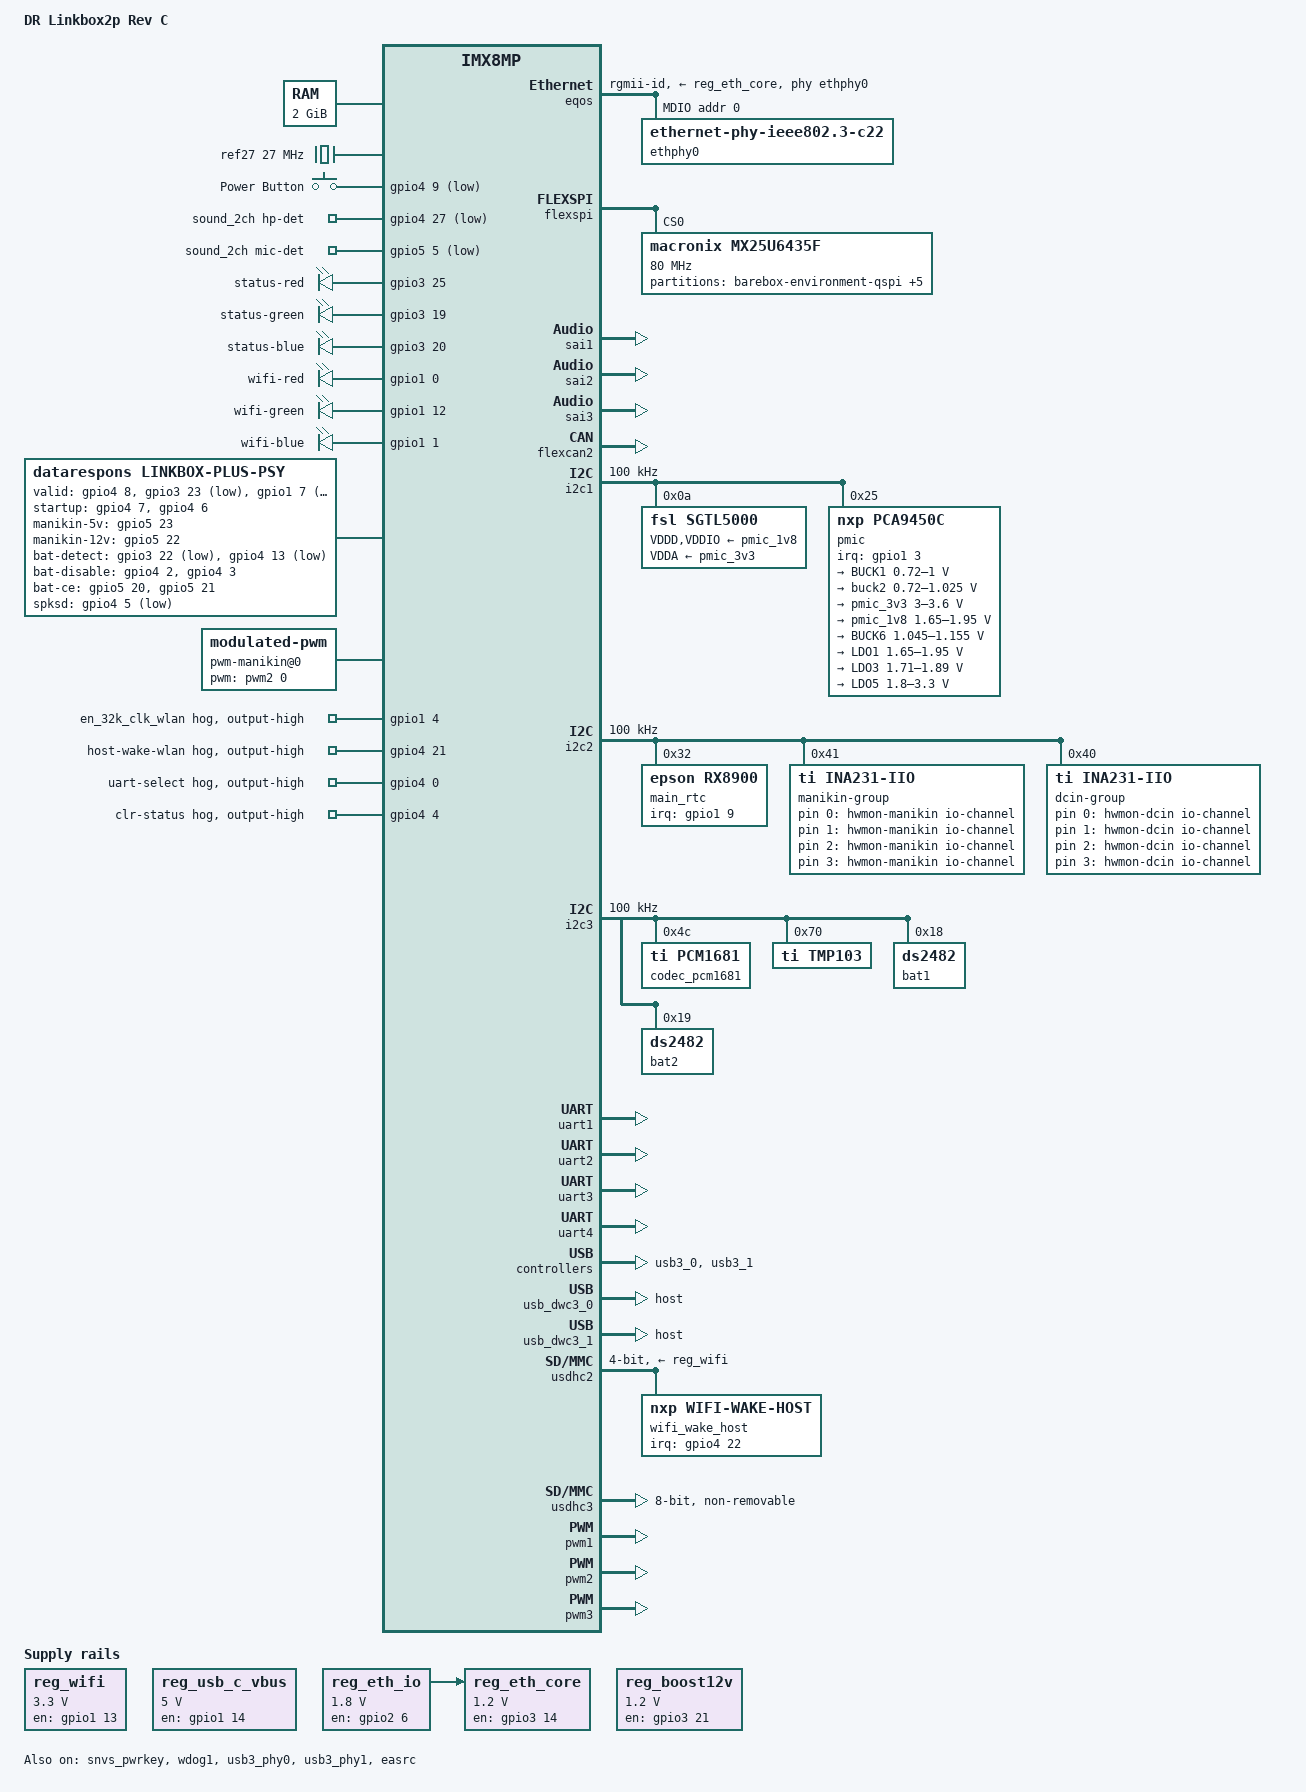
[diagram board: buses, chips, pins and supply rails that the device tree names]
/*
 * Copyright DATA RESPONS AS
 *
 * The code contained herein is licensed under the GNU General Public
 * License. You may obtain a copy of the GNU General Public License
 * Version 2 or later at the following locations:
 *
 * http://www.opensource.org/licenses/gpl-license.html
 * http://www.gnu.org/copyleft/gpl.html
 */
/dts-v1/;

#include <dt-bindings/input/input.h>
#include <dt-bindings/gpio/gpio.h>
#include <dt-bindings/usb/pd.h>
#include "imx8mp-nominal.dtsi"

/ {
	model = "DR Linkbox2p Rev C";
	compatible = "datarespons,linkbox2p", "fsl,imx8mp";

	aliases {
		mmc0 = &usdhc3;
		ethernet0 = &eqos;
		btserial = "ttymxc0";
		rtc0 = &main_rtc;
		rtc1 = &snvs_rtc;
	};

	chosen {
		stdout-path = &uart2;
	};

	memory@40000000 {
		device_type = "memory";
		reg = <0x0 0x40000000 0 0x80000000>; 	/* 2 GB DDR */
	};

	/delete-node/ display-subsystem;


	clocks {
		wlan_clk: clock@1 {
		#clock-cells = <0>;
            compatible = "fixed-clock";
            clock-output-names = "slp-clk";
            clock-frequency = <32768>;
            gpio = <&gpio1 4 0>; // EN_32KO-RTC
        };

		/*bt_clk: clock@1 {
		#clock-cells = <0>;
            compatible = "fixed-clock";
            clock-output-names = "lpo";
            clock-frequency = <32768>;
        };*/

		/* 27MHz reference crystal */
		ref27: oscillator {
			compatible = "fixed-clock";
			#clock-cells = <0>;
			clock-frequency = <27000000>;
		};
	};

	regulators {
		compatible = "simple-bus";

		reg_wifi: wifi_pwr {
			compatible = "regulator-fixed";
			regulator-name = "reg_wifi";
			regulator-min-microvolt = <3300000>;
			regulator-max-microvolt = <3300000>;
			gpio = <&gpio1 13 0>; /* PMIC_EN-WLAN */
			enable-active-high;
		};

		reg_usb_c_vbus: usb_c_vbus {
			compatible = "regulator-fixed";
			regulator-name = "reg_usb_c_vbus";
			regulator-min-microvolt = <5000000>;
			regulator-max-microvolt = <5000000>;
			gpio = <&gpio1 14 GPIO_ACTIVE_HIGH>; /* EN-USBC_Vbus_5V */
			enable-active-high;
/*			vin-supply = <&reg_5v>;*/
		};

		reg_eth_io: eth-io {
			pinctrl-names = "default";
			pinctrl-0 = <&pinctrl_reg_eth_io>;
			compatible = "regulator-fixed";
			regulator-name = "reg-eth-io";
			regulator-min-microvolt = <1800000>;
			regulator-max-microvolt = <1800000>;
			gpio = <&gpio2 6 GPIO_ACTIVE_HIGH>; /* EN_PWR-ENET_A */
			enable-active-high;
		};

		reg_eth_core: eth-core {
			pinctrl-names = "default";
			pinctrl-0 = <&pinctrl_reg_eth_core>;
			compatible = "regulator-fixed";
			regulator-name = "reg-eth-core";
			regulator-min-microvolt = <1200000>;
			regulator-max-microvolt = <1200000>;
			gpio = <&gpio3 14 GPIO_ACTIVE_HIGH>; /* EN_1V2-ENET_A */
			enable-active-high;
			vin-supply = <&reg_eth_io>;
			startup-delay-us = <20>;
		};

		reg_boost12v: boost12v {
			compatible = "regulator-fixed";
			regulator-name = "reg-boost-12v";
			regulator-min-microvolt = <1200000>;
			regulator-max-microvolt = <1200000>;
			gpio = <&gpio3 21 GPIO_ACTIVE_HIGH>;
			enable-active-high;
			regulator-always-on;
		};
	};

	gpio-keys {
		compatible = "gpio-keys";
		power {
			label = "Power Button";
			gpios = <&gpio4 9 GPIO_ACTIVE_LOW>;
			linux,code = <KEY_POWER>; /* KEY_POWER */
			gpio-key,wakeup;
		};
	};

	bt_sco_codec: bt_sco_codec {
		#sound-dai-cells = <1>;
		compatible = "linux,bt-sco";
		status = "disabled";
	};

	sound-bt-sco {
		status = "okay";
		compatible = "simple-audio-card";
		simple-audio-card,name = "bt-sco-audio";
		simple-audio-card,format = "dsp_a";
		simple-audio-card,bitclock-inversion;
		simple-audio-card,frame-master = <&btcpu>;
		simple-audio-card,bitclock-master = <&btcpu>;

		btcpu: simple-audio-card,cpu {
			sound-dai = <&sai2>;
			dai-tdm-slot-num = <2>;
			dai-tdm-slot-width = <16>;
		};

		simple-audio-card,codec {
			sound-dai = <&bt_sco_codec 1>;
		};

	};

	sound_2ch {
		compatible = "fsl,lm-imx-audio-lb2-audio";
		model = "sgtl5000-audio";
		audio-cpu = <&sai3>;
		audio-codec = <&sgtl5000>;
		hp-det-gpios = <&gpio4 27 GPIO_ACTIVE_LOW>;
		mic-det-gpios = <&gpio5 5 GPIO_ACTIVE_LOW>;
		audio-routing =
			"Headphone Jack", "HP_OUT",
			"AMIC", "Mic Bias",
			"MIC_IN", "AMIC";
	};

	leds {
		compatible = "gpio-leds";
		pinctrl-names = "default";
		pinctrl-0 = <&pinctrl_gpio_led>;

		status-red {
			gpios = <&gpio3 25 GPIO_ACTIVE_HIGH>;
			default-state = "off";
		};

		status-green {
			gpios = <&gpio3 19 GPIO_ACTIVE_HIGH>;
			default-state = "on";
			linux,default-trigger = "timer";
		};

		status-blue {
			gpios = <&gpio3 20 GPIO_ACTIVE_HIGH>;
			default-state = "off";
		};

		wifi-red {
			gpios = <&gpio1 0 GPIO_ACTIVE_HIGH>;
			default-state = "off";
		};

		wifi-green {
			gpios = <&gpio1 12 GPIO_ACTIVE_HIGH>;
			default-state = "off";
		};

		wifi-blue {
			gpios = <&gpio1 1 GPIO_ACTIVE_HIGH>;
			default-state = "off";
		};
	};

    sound_8ch {
        compatible = "fsl,imx-audio-mx8-pcm1681";
        model = "pcm1681";
        audio-cpu = <&sai1>;
        audio-codec = <&codec_pcm1681>;

        audio-routing =
            "OUT1", "VOUT1",
            "OUT2", "VOUT2",
            "OUT3", "VOUT3",
            "OUT4", "VOUT4",
            "OUT5", "VOUT5",
            "OUT6", "VOUT6",
            "OUT7", "VOUT7",
            "OUT8", "VOUT8";
    };

    linkbox-plus-psy {
		pinctrl-names = "default";
		pinctrl-0 = <&pinctrl_linkbox_psy>;
		status = "okay";
		compatible = "datarespons,linkbox-plus-psy";
		valid-gpios = <&gpio4 8 GPIO_ACTIVE_HIGH &gpio3 23 GPIO_ACTIVE_LOW &gpio1 7 GPIO_ACTIVE_LOW>;
		startup-gpios = <&gpio4 7 GPIO_ACTIVE_HIGH &gpio4 6 GPIO_ACTIVE_HIGH>;
		manikin-5v-gpio = <&gpio5 23 GPIO_ACTIVE_HIGH>;
		manikin-12v-gpio = <&gpio5 22 GPIO_ACTIVE_HIGH>;
		bat-detect-gpios = <&gpio3 22 GPIO_ACTIVE_LOW &gpio4 13 GPIO_ACTIVE_LOW>;
		bat-disable-gpios = <&gpio4 2 GPIO_ACTIVE_HIGH &gpio4 3 GPIO_ACTIVE_HIGH>;
		bat-ce-gpios = <&gpio5 20 GPIO_ACTIVE_HIGH &gpio5 21 GPIO_ACTIVE_HIGH>;
		spksd-gpio = <&gpio4 5 GPIO_ACTIVE_LOW>;
		amp-shutdown-gpio = <&gpio1 6 GPIO_ACTIVE_LOW>;
    };

	pwm-manikin@0 {
		compatible = "modulated-pwm";
		pwms = <&pwm2 0 40000>;
		status = "okay";
		inverted;
		period = <40000>;
	};

	hwmon-dcin {
		compatible = "iio-hwmon";
		io-channels = <&ina_dcin 0>, <&ina_dcin 1>, <&ina_dcin 2>, <&ina_dcin 3>;
	};

	hwmon-manikin {
		compatible = "iio-hwmon";
		io-channels = <&ina_manikin 0>, <&ina_manikin 1>, <&ina_manikin 2>, <&ina_manikin 3>;
	};

	can-uart-mux {
		compatible = "datarespons,function-mux";
		pinctrl-names = "uart", "can";
		pinctrl-0 = <&pinctrl_uart3>;
		pinctrl-1 = <&pinctrl_flexcan2>;
	};
};

&A53_0 {
	cpu-supply = <&buck2>;
};

&A53_1 {
	cpu-supply = <&buck2>;
};

&A53_2 {
	cpu-supply = <&buck2>;
};

&A53_3 {
	cpu-supply = <&buck2>;
};

&gpu_3d {
	status = "disabled";
};

&gpu_2d {
	status = "disabled";
};


&snvs_pwrkey {
	status = "okay";
};

&gpio1 {
	gpio-line-names = "", "", "", "", "", "can-stby", "", "can-en-term",
						"can-shdn", "", "", "", "", "pmic-enable-wlan", "", "";

	en_32k_clk_wlan {
		gpio-hog;
		gpios = <4 GPIO_ACTIVE_HIGH>;
		output-high;
	};
};


&gpio3 {
	gpio-line-names = "", "", "", "", "", "", "", "",
						"spinor-wp", "", "", "", "", "", "", "";
};

&gpio4 {
	gpio-line-names = "uart-select", "", "", "", "", "", "", "",
						"", "", "", "", "", "", "mcu_reset", "mcu_boot0",
						"mcu_boot1", "hwrev0", "hwrev1", "hwrev2", "sai1-mclk", "host-wake-wlan", "wlan-wake-host", "",
						"", "", "", "", "", "", "", "";

	host-wake-wlan {
		gpio-hog;
		gpios = <21 GPIO_ACTIVE_HIGH>;
		output-high;
	};

	uart-select {
		gpio-hog;
		gpios = <0 GPIO_ACTIVE_HIGH>;
		output-high;
	};

	clr-status {
		gpio-hog;
		gpios = <4 GPIO_ACTIVE_HIGH>;
		output-high;
	};
};

&gpio5 {
	gpio-line-names = "", "", "", "bt-wake-host", "host-wake-bt", "", "", "",
						"", "", "", "", "", "", "", "",
						"", "", "", "", "", "", "", "";
};


&eqos {
	pinctrl-names = "default";
	pinctrl-0 = <&pinctrl_eqos>;
	phy-mode = "rgmii-id";
	phy-handle = <&ethphy0>;
	snps,force_thresh_dma_mode;
	status = "okay";
	snps,reset-gpios = <&gpio2 5 GPIO_ACTIVE_LOW>; /* ETHPHY_nRST */
	snps,reset-delays-us = <0 10000 30000>;
	phy-supply = <&reg_eth_core>;

	mdio {
		compatible = "snps,dwmac-mdio";
		#address-cells = <1>;
		#size-cells = <0>;

		ethphy0: ethernet-phy@0 {
			compatible = "ethernet-phy-ieee802.3-c22";
			reg = <0>;
		};
	};
};


&flexspi {
	pinctrl-names = "default";
	pinctrl-0 = <&pinctrl_flexspi0>;
	status = "okay";

	mx25u6435f: flash@0 { /* MX25U6432FM2I02 (64 Mbit) */
		reg = <0>;
		#address-cells = <1>;
		#size-cells = <1>;
		compatible = "macronix,mx25u6435f", "jedec,spi-nor";
		spi-max-frequency = <80000000>;
		spi-tx-bus-width = <1>;
		spi-rx-bus-width = <4>;
		spi-nor,ddr-quad-read-dummy = <6>;

	};
};

&mx25u6435f {
	partitions {
		compatible = "fixed-partitions";
		#address-cells = <1>;
		#size-cells = <1>;

		partition@0 {
			label = "barebox-environment-qspi";
			reg = <0x0 0x40000>;
		};

		backend_state_qspi: state@40000 {
			label = "barebox-state";
			reg = <0x40000 0xc0000>;
		};

		partition@100000 {
			label = "system_a";
			reg = <0x100000 0x40000>;
		};
		partition@140000 {
			label = "system_b";
			reg = <0x140000 0x40000>;
		};

		partition@180000 {
			label = "user_a";
			reg = <0x180000 0x40000>;
		};
		partition@1c0000 {
			label = "user_b";
			reg = <0x1c0000 0x40000>;
		};
	};
};

&sai1 {
	#clock-cells = <0>;
	clock-output-names = "sai1_mclk_out";
	pinctrl-names = "default";
	pinctrl-0 = <&pinctrl_sai1>;
	assigned-clocks = <&clk IMX8MP_CLK_SAI1>;
	assigned-clock-parents = <&clk IMX8MP_AUDIO_PLL1_OUT>;
	assigned-clock-rates = <12288000>;
	clocks = <&audio_blk_ctrl IMX8MP_CLK_AUDIO_BLK_CTRL_SAI1_IPG>, <&clk IMX8MP_CLK_DUMMY>,
		<&audio_blk_ctrl IMX8MP_CLK_AUDIO_BLK_CTRL_SAI1_MCLK1>, <&clk IMX8MP_CLK_DUMMY>,
		<&clk IMX8MP_CLK_DUMMY>;
	clock-names = "bus", "mclk0", "mclk1", "mclk2", "mclk3";
	fsl,sai-mclk-direction-output;
	status = "okay";
};

&sai2 {
	#sound-dai-cells = <0>;
	pinctrl-names = "default";
	pinctrl-0 = <&pinctrl_sai2>;
	assigned-clocks = <&clk IMX8MP_CLK_SAI2>;
	assigned-clock-parents = <&clk IMX8MP_AUDIO_PLL1_OUT>;
	assigned-clock-rates = <12288000>;
	status = "okay";
};

&sai3 {
	#clock-cells = <0>;
	clock-output-names = "sai3_mclk_out";
	pinctrl-names = "default";
	pinctrl-0 = <&pinctrl_sai3>;
	assigned-clocks = <&clk IMX8MP_CLK_SAI3>;
	assigned-clock-parents = <&clk IMX8MP_AUDIO_PLL1_OUT>;
	assigned-clock-rates = <12288000>;
	clocks = <&audio_blk_ctrl IMX8MP_CLK_AUDIO_BLK_CTRL_SAI3_IPG>, <&clk IMX8MP_CLK_DUMMY>,
		<&audio_blk_ctrl IMX8MP_CLK_AUDIO_BLK_CTRL_SAI3_MCLK1>, <&clk IMX8MP_CLK_DUMMY>,
		<&clk IMX8MP_CLK_DUMMY>;
	clock-names = "bus", "mclk0", "mclk1", "mclk2", "mclk3";
	fsl,sai-mclk-direction-output;
	status = "okay";
};

&sdma2 {
	status = "okay";
};

&flexcan2 {
	status = "okay";
};

&i2c1 {
	clock-frequency = <100000>;
	pinctrl-names = "default";
	pinctrl-0 = <&pinctrl_i2c1>;
	status = "okay";

	sgtl5000: audio-codec@a {
		compatible = "fsl,sgtl5000";
		clocks = <&sai3>;
		#sound-dai-cells = <0>;
		reg = <0x0a>;
		VDDD-supply = <&pmic_1v8>;
		VDDIO-supply = <&pmic_1v8>;
		VDDA-supply = <&pmic_3v3>;
		micbias-resistor-k-ohms = <2>;
		micbias-voltage-m-volts = <2500>;
	};

	pmic: pca9450@25 {
		compatible = "nxp,pca9450c";
		reg = <0x25>;
		pinctrl-names = "default";
		pinctrl-0 = <&pinctrl_pmic>;
		interrupt-parent = <&gpio1>;
		interrupts = <3 IRQ_TYPE_LEVEL_LOW>;

		regulators {
			BUCK1 {
				regulator-name = "BUCK1";
				regulator-min-microvolt = <720000>;
				regulator-max-microvolt = <1000000>;
				regulator-boot-on;
				regulator-always-on;
				regulator-ramp-delay = <3125>;
			};

			buck2: BUCK2 {
				regulator-name = "BUCK2";
				regulator-min-microvolt = <720000>;
				regulator-max-microvolt = <1025000>;
				regulator-boot-on;
				regulator-always-on;
				regulator-ramp-delay = <3125>;
				nxp,dvs-run-voltage = <950000>;
				nxp,dvs-standby-voltage = <850000>;
			};

			pmic_3v3: BUCK4 {
				regulator-name = "pmic-3v3";
				regulator-min-microvolt = <3000000>;
				regulator-max-microvolt = <3600000>;
				regulator-boot-on;
				regulator-always-on;
			};

			pmic_1v8: BUCK5 {
				regulator-name = "pmic-1v8";
				regulator-min-microvolt = <1650000>;
				regulator-max-microvolt = <1950000>;
				regulator-boot-on;
				regulator-always-on;
			};

			BUCK6 {
				regulator-name = "BUCK6";
				regulator-min-microvolt = <1045000>;
				regulator-max-microvolt = <1155000>;
				regulator-boot-on;
				regulator-always-on;
			};

			LDO1 {
				regulator-name = "LDO1";
				regulator-min-microvolt = <1650000>;
				regulator-max-microvolt = <1950000>;
				regulator-boot-on;
				regulator-always-on;
			};

			LDO3 {
				regulator-name = "LDO3";
				regulator-min-microvolt = <1710000>;
				regulator-max-microvolt = <1890000>;
				regulator-boot-on;
				regulator-always-on;
			};

			LDO5 {
				regulator-name = "LDO5";
				regulator-min-microvolt = <1800000>;
				regulator-max-microvolt = <3300000>;
				regulator-boot-on;
				regulator-always-on;
			};
		};
	};
};

&i2c2 { /* RTC X1B000271A00400/rx8900, PCIE_CLK PI6CFGL201BZDIE, MBATT BQ27541-G1 BQ28Z610 */
	clock-frequency = <100000>;
	pinctrl-names = "default";
	pinctrl-0 = <&pinctrl_i2c2>;
	status = "okay";

	main_rtc: rtc-rx8900@32 {
		compatible = "epson,rx8900";
		reg = <0x32>;
		interrupt-parent = <&gpio1>;
		interrupts = <9 IRQ_TYPE_LEVEL_LOW>;
		wakeup-source;
	};

	ina_manikin: ina-manikin@41 {
		compatible = "ti,ina231-iio";
		reg = <0x41>;
		shunt-resistor = <10000>;
		#io-channel-cells = <1>;
		label = "manikin-group";
	};

	ina_dcin: ina-dcin@40 {
		compatible = "ti,ina231-iio";
		reg = <0x40>;
		shunt-resistor = <10000>;
		#io-channel-cells = <1>;
		label = "dcin-group";

	};
};

&i2c3 { /* CTP EXC80H32 , CTP EXC80H32	see exc3000.c */
	clock-frequency = <100000>;
	pinctrl-names = "default";
	pinctrl-0 = <&pinctrl_i2c3>;
	status = "okay";

	codec_pcm1681: pcm1681@4c {
		compatible = "ti,pcm1681";
		reg = <0x4c>;
		clocks = <&sai1>;
		clock-names = "mclk";
	};

	si5351: clock-generator@60 {
		compatible = "silabs,si5351a";
		reg = <0x60>;
		#address-cells = <1>;
		#size-cells = <0>;
		#clock-cells = <1>;
		status = "disabled";

		/* connect xtal input to 27MHz reference */
		clocks = <&ref27>;
		clock-names = "xtal";
		/* connect xtal input as source of pll0 and pll1 */
		silabs,pll-source = <0 0>, <1 0>;

		clkout0 {
			reg = <0>;
			silabs,drive-strength = <8>;
			silabs,multisynth-source = <0>;
			silabs,clock-source = <0>;
			silabs,pll-master;
			clock-frequency = <24576000>;
		};

		clkout1 {
			reg = <1>;
			silabs,drive-strength = <8>;
			silabs,multisynth-source = <0>;
			silabs,clock-source = <0>;
			clock-frequency = <12288000>;
		};
	};

	/*thermal_sensor: TMP103AYFFR*/
	tmp103: tmp103@70 {
		compatible = "ti,tmp103";
		reg = <0x70>;
	};

	/* DS2482X-101+T */
	/* defconfig W1_MASTER_DS2482*/
	bat1: ds2482@18 {
		compatible = "ds2482";
		reg = <0x18>;
	};

	/* DS2482X-101+T */
	/* defconfig W1_MASTER_DS2482*/
	bat2: ds2482@19 {
		compatible = "ds2482";
		reg = <0x19>;
	};

};

&wdog1 {
	pinctrl-names = "default";
	pinctrl-0 = <&pinctrl_wdog>;
	fsl,ext-reset-output;
	status = "okay";
};

/* PAD defs for IMX8MP
BIT8: PULL Enable=1
BIT7: HYS Shmitt=1
BIT6: PUE Down=0, Up=1
BIT5: ODE
BIT4: SLEW Fast=1
BIT2:1 STRENGTH x1,x2,x4,x6
*/

&iomuxc {
	pinctrl-names = "default";
	pinctrl-0 = <&pinctrl_hog>;

	pinctrl_hog: hoggrp {
		fsl,pins = <
			MX8MP_IOMUXC_GPIO1_IO04__GPIO1_IO04			0x142		/* EN_32KO-RTC (WLAN SLP_CLK-WLAN)*/
			MX8MP_IOMUXC_GPIO1_IO09__GPIO1_IO09			0x1c0		/* RTC nIRQ */
			MX8MP_IOMUXC_GPIO1_IO13__GPIO1_IO13			0x002		/* GP--WL_BAT_PWR_EN PMIC_EN-WLAN */

			MX8MP_IOMUXC_SAI1_RXD7__GPIO4_IO09			0x180		/* PWR_BTN_SNS PWR_BTN_SNS-CPUGPI*/
			MX8MP_IOMUXC_SAI1_TXD5__GPIO4_IO17			0x00		/* HW_Setting_0 */
			MX8MP_IOMUXC_SAI1_TXD6__GPIO4_IO18			0x00		/* HW_Setting_1 */
			MX8MP_IOMUXC_SAI1_TXD7__GPIO4_IO19			0x00		/* HW_Setting_2 */
			MX8MP_IOMUXC_SAI2_MCLK__GPIO4_IO27			0x1c0		/* LINE_OUTD_DET */

			MX8MP_IOMUXC_SPDIF_EXT_CLK__GPIO5_IO05		0x1c0		/* LINE_IND_DET */
			MX8MP_IOMUXC_SPDIF_RX__GPIO5_IO04			0x142		/* HOST_WAKEUP_BT, PU */
			MX8MP_IOMUXC_SPDIF_TX__GPIO5_IO03			0x180		/* BT_WAKEUP_HOST, PD */

			MX8MP_IOMUXC_GPIO1_IO14__GPIO1_IO14			0x006 		/* EN-USBC_Vbus_5V */

			MX8MP_IOMUXC_SAI1_TXD2__GPIO4_IO14			0x004  		/* GP-CPU2MCU_RST */
            MX8MP_IOMUXC_SAI1_TXD3__GPIO4_IO15			0x004  		/* MCU_BOOT0 */
            MX8MP_IOMUXC_SAI1_TXD4__GPIO4_IO16			0x004  		/* MCU_BOOT1 */

			MX8MP_IOMUXC_GPIO1_IO08__GPIO1_IO08			0x04		/* SHDN-CAN1 (ext pd) */
			MX8MP_IOMUXC_GPIO1_IO05__GPIO1_IO05			0x04		/* CAN1_STBY (ext pd) */

			MX8MP_IOMUXC_SAI1_RXFS__GPIO4_IO00			0x002		/* USB_UART_SELECT */
			MX8MP_IOMUXC_SAI5_RXD0__GPIO3_IO21			0x002		/* PWR_BOOST_EN */
			MX8MP_IOMUXC_SAI1_RXD2__GPIO4_IO04			0x002		/* CLR_STATUS to CPLD */
		>;
	};

	pinctrl_reg_eth_io: ethiogrp {
		fsl,pins = <
			MX8MP_IOMUXC_SD1_DATA4__GPIO2_IO06	0x106	/* EN_PWR-ENET_A */
		>;
	};

	pinctrl_reg_eth_core: ethcoregrp {
		fsl,pins = <
			MX8MP_IOMUXC_NAND_DQS__GPIO3_IO14	0x106	/* EN_1V2-ENET_A */
		>;
	};

	pinctrl_pmic: pmicgrp {
		fsl,pins = <
			MX8MP_IOMUXC_GPIO1_IO03__GPIO1_IO03		0x1c0	/* PMIC_nINT */
		>;
	};

	pinctrl_wifi1: wifi1grp {
		fsl,pins = <
			MX8MP_IOMUXC_SAI2_RXFS__GPIO4_IO21		0x142	/* HOST_WAKEUP_WLAN */
			MX8MP_IOMUXC_SAI2_RXC__GPIO4_IO22		0x1C0	/* WLAN_WAKEUP_HOST */
		>;
	};

	pinctrl_wdog: wdoggrp {
		fsl,pins = <
			MX8MP_IOMUXC_GPIO1_IO02__WDOG1_WDOG_B		  0xc6		 /* WDOG_B */
		>;
	};

	pinctrl_flexspi0: flexspi0grp {
		fsl,pins = <
			MX8MP_IOMUXC_NAND_ALE__FLEXSPI_A_SCLK		0x1c2
			MX8MP_IOMUXC_NAND_CE0_B__FLEXSPI_A_SS0_B	0x82
			MX8MP_IOMUXC_NAND_DATA00__FLEXSPI_A_DATA00	0x82
			MX8MP_IOMUXC_NAND_DATA01__FLEXSPI_A_DATA01	0x82
			MX8MP_IOMUXC_NAND_DATA02__FLEXSPI_A_DATA02	0x82
			MX8MP_IOMUXC_NAND_DATA03__FLEXSPI_A_DATA03	0x82
		>;
	};

	/* Linkbox Power Supply */
	pinctrl_linkbox_psy: psygrp {
		fsl,pins = <
			MX8MP_IOMUXC_UART1_RXD__GPIO5_IO22		0x106		/* EN-12V-MANIKIN */
			MX8MP_IOMUXC_UART1_TXD__GPIO5_IO23		0x106		/* EN-5V-MANIKIN */
			MX8MP_IOMUXC_GPIO1_IO06__GPIO1_IO06 	0x026		/* nSD-AC5W (OD) */
			MX8MP_IOMUXC_SAI1_RXD3__GPIO4_IO05		0x006		/* nSD-1WSP */
			MX8MP_IOMUXC_SAI5_RXD1__GPIO3_IO22		0x080		/* GP--BAT1_nDET */
			MX8MP_IOMUXC_SAI1_TXD1__GPIO4_IO13  	0x080		/* BAT2_DET_N */
            MX8MP_IOMUXC_SAI5_RXD2__GPIO3_IO23		0x080		/* nVALID_2 */
            MX8MP_IOMUXC_GPIO1_IO07__GPIO1_IO07		0x080		/* nVALID_3 */
            MX8MP_IOMUXC_SAI1_RXD5__GPIO4_IO07		0x000		/* START_ADAPTER-CPUGPI */
            MX8MP_IOMUXC_SAI1_RXD4__GPIO4_IO06		0x000		/* START_KEY-CPUGPI */

			MX8MP_IOMUXC_SAI1_RXD0__GPIO4_IO02		0x004		/* UV2-CPU */
			MX8MP_IOMUXC_SAI1_RXD1__GPIO4_IO03		0x004		/* UV3-CPU */
			MX8MP_IOMUXC_I2C4_SCL__GPIO5_IO20		0x004		/* EN_BAT1-CPU */
			MX8MP_IOMUXC_I2C4_SDA__GPIO5_IO21		0x004		/* EN_BAT2-CPU */
			MX8MP_IOMUXC_SAI1_RXD6__GPIO4_IO08		0x000		/* DCIN_VALIDO from CPLD */
		>;
	};

	/* UART BT */
	pinctrl_uart1: uart1grp {
		fsl,pins = <
			MX8MP_IOMUXC_SD1_CLK__UART1_DCE_TX		0x014
			MX8MP_IOMUXC_SD1_CMD__UART1_DCE_RX		0x014
			MX8MP_IOMUXC_SD1_DATA0__UART1_DCE_RTS	0x014
			MX8MP_IOMUXC_SD1_DATA1__UART1_DCE_CTS	0x014
		>;
	};

	/* UART CPU */
	pinctrl_uart2: uart2grp {
		fsl,pins = <
			MX8MP_IOMUXC_UART2_RXD__UART2_DCE_RX	0x102
			MX8MP_IOMUXC_UART2_TXD__UART2_DCE_TX	0x102
		>;
	};

	/* UART IOMCU */
	pinctrl_uart4: uart4grp {
		fsl,pins = <
			MX8MP_IOMUXC_UART4_RXD__UART4_DCE_RX	0x102 /* UART_TX-IOMCU */
			MX8MP_IOMUXC_UART4_TXD__UART4_DCE_TX	0x102 /* UART_RX-IOMCU */
		>;
	};

	pinctrl_i2c1: i2c1grp {
		fsl,pins = <
			MX8MP_IOMUXC_I2C1_SCL__I2C1_SCL		 0x400001c2
			MX8MP_IOMUXC_I2C1_SDA__I2C1_SDA		 0x400001c2
		>;
	};

	pinctrl_i2c2: i2c2grp {
		fsl,pins = <
			MX8MP_IOMUXC_I2C2_SCL__I2C2_SCL		 0x400001c2
			MX8MP_IOMUXC_I2C2_SDA__I2C2_SDA		 0x400001c2
		>;
	};

	pinctrl_i2c3: i2c3grp {
		fsl,pins = <
			MX8MP_IOMUXC_I2C3_SCL__I2C3_SCL		0x400001c2
			MX8MP_IOMUXC_I2C3_SDA__I2C3_SDA		0x400001c2
		>;
	};

	pinctrl_usdhc2: usdhc2grp {
		fsl,pins = <
			MX8MP_IOMUXC_SD2_CLK__USDHC2_CLK		0x192
			MX8MP_IOMUXC_SD2_CMD__USDHC2_CMD		0x1d2
			MX8MP_IOMUXC_SD2_DATA0__USDHC2_DATA0	0x1d2
			MX8MP_IOMUXC_SD2_DATA1__USDHC2_DATA1	0x1d2
			MX8MP_IOMUXC_SD2_DATA2__USDHC2_DATA2	0x1d2
			MX8MP_IOMUXC_SD2_DATA3__USDHC2_DATA3	0x1d2
		>;
	};

	pinctrl_usdhc2_100mhz: usdhc2-100mhzgrp {
		fsl,pins = <
			MX8MP_IOMUXC_SD2_CLK__USDHC2_CLK		0x194
			MX8MP_IOMUXC_SD2_CMD__USDHC2_CMD		0x1d4
			MX8MP_IOMUXC_SD2_DATA0__USDHC2_DATA0	0x1d4
			MX8MP_IOMUXC_SD2_DATA1__USDHC2_DATA1	0x1d4
			MX8MP_IOMUXC_SD2_DATA2__USDHC2_DATA2	0x1d4
			MX8MP_IOMUXC_SD2_DATA3__USDHC2_DATA3	0x1d4
		>;
	};

	pinctrl_usdhc2_200mhz: usdhc2-200mhzgrp {
		fsl,pins = <
			MX8MP_IOMUXC_SD2_CLK__USDHC2_CLK		0x196
			MX8MP_IOMUXC_SD2_CMD__USDHC2_CMD		0x1d6
			MX8MP_IOMUXC_SD2_DATA0__USDHC2_DATA0	0x1d6
			MX8MP_IOMUXC_SD2_DATA1__USDHC2_DATA1	0x1d6
			MX8MP_IOMUXC_SD2_DATA2__USDHC2_DATA2	0x1d6
			MX8MP_IOMUXC_SD2_DATA3__USDHC2_DATA3	0x1d6
		>;
	};

	pinctrl_usdhc3: usdhc3grp { /* EMMC eMMC16G-TB28-A20 */
		fsl,pins = <
			MX8MP_IOMUXC_NAND_WE_B__USDHC3_CLK		0x192 /*SD3_CLK*/
			MX8MP_IOMUXC_NAND_WP_B__USDHC3_CMD		0x1d2 /*SD3_CMD*/
			MX8MP_IOMUXC_NAND_DATA04__USDHC3_DATA0	0x1d2 /*SD3_DATA0*/
			MX8MP_IOMUXC_NAND_DATA05__USDHC3_DATA1	0x1d2 /*SD3_DATA1*/
			MX8MP_IOMUXC_NAND_DATA06__USDHC3_DATA2	0x1d2 /*SD3_DATA2*/
			MX8MP_IOMUXC_NAND_DATA07__USDHC3_DATA3	0x1d2 /*SD3_DATA3*/
			MX8MP_IOMUXC_NAND_RE_B__USDHC3_DATA4	0x1d2 /*SD3_DATA4*/
			MX8MP_IOMUXC_NAND_CE2_B__USDHC3_DATA5	0x1d2 /*SD3_DATA5*/
			MX8MP_IOMUXC_NAND_CE3_B__USDHC3_DATA6	0x1d2 /*SD3_DATA6*/
			MX8MP_IOMUXC_NAND_CLE__USDHC3_DATA7		0x1d2 /*SD3_DATA7*/
			MX8MP_IOMUXC_NAND_CE1_B__USDHC3_STROBE	0x192 /* SD3_STROBE*/
		>;
	};

	pinctrl_usdhc3_100mhz: usdhc3-100mhzgrp {
		fsl,pins = <
			MX8MP_IOMUXC_NAND_WE_B__USDHC3_CLK		0x194 /*SD3_CLK*/
			MX8MP_IOMUXC_NAND_WP_B__USDHC3_CMD		0x1d4 /*SD3_CMD*/
			MX8MP_IOMUXC_NAND_DATA04__USDHC3_DATA0	0x1d4 /*SD3_DATA0*/
			MX8MP_IOMUXC_NAND_DATA05__USDHC3_DATA1	0x1d4 /*SD3_DATA1*/
			MX8MP_IOMUXC_NAND_DATA06__USDHC3_DATA2	0x1d4 /*SD3_DATA2*/
			MX8MP_IOMUXC_NAND_DATA07__USDHC3_DATA3	0x1d4 /*SD3_DATA3*/
			MX8MP_IOMUXC_NAND_RE_B__USDHC3_DATA4	0x1d4 /*SD3_DATA4*/
			MX8MP_IOMUXC_NAND_CE2_B__USDHC3_DATA5	0x1d4 /*SD3_DATA5*/
			MX8MP_IOMUXC_NAND_CE3_B__USDHC3_DATA6	0x1d4 /*SD3_DATA6*/
			MX8MP_IOMUXC_NAND_CLE__USDHC3_DATA7		0x1d4 /*SD3_DATA7*/
			MX8MP_IOMUXC_NAND_CE1_B__USDHC3_STROBE	0x194 /* SD3_STROBE*/
		>;
	};

	pinctrl_usdhc3_200mhz: usdhc3-200mhzgrp {
		fsl,pins = <
			MX8MP_IOMUXC_NAND_WE_B__USDHC3_CLK		0x196 /*SD3_CLK*/
			MX8MP_IOMUXC_NAND_WP_B__USDHC3_CMD		0x1d6 /*SD3_CMD*/
			MX8MP_IOMUXC_NAND_DATA04__USDHC3_DATA0	0x1d6 /*SD3_DATA0*/
			MX8MP_IOMUXC_NAND_DATA05__USDHC3_DATA1	0x1d6 /*SD3_DATA1*/
			MX8MP_IOMUXC_NAND_DATA06__USDHC3_DATA2	0x1d6 /*SD3_DATA2*/
			MX8MP_IOMUXC_NAND_DATA07__USDHC3_DATA3	0x1d6 /*SD3_DATA3*/
			MX8MP_IOMUXC_NAND_RE_B__USDHC3_DATA4	0x1d6 /*SD3_DATA4*/
			MX8MP_IOMUXC_NAND_CE2_B__USDHC3_DATA5	0x1d6 /*SD3_DATA5*/
			MX8MP_IOMUXC_NAND_CE3_B__USDHC3_DATA6	0x1d6 /*SD3_DATA6*/
			MX8MP_IOMUXC_NAND_CLE__USDHC3_DATA7		0x1d6 /*SD3_DATA7*/
			MX8MP_IOMUXC_NAND_CE1_B__USDHC3_STROBE	0x196 /* SD3_STROBE*/
		>;
	};

	pinctrl_sai1: sai1grp {
		fsl,pins = <
			MX8MP_IOMUXC_SAI1_MCLK__AUDIOMIX_SAI1_MCLK			0xd6 /*SAI1_MCLK - PCM_SCLK-PCMDAC */
			MX8MP_IOMUXC_SAI1_TXFS__AUDIOMIX_SAI1_TX_SYNC		0xd6 /*SAI1_TXFS - PCM_LRCK-PCMDAC */
			MX8MP_IOMUXC_SAI1_TXC__AUDIOMIX_SAI1_TX_BCLK		0xd6 /*SAI1_TXC - PCM_BCLK-PCMDAC*/
			MX8MP_IOMUXC_SAI1_TXD0__AUDIOMIX_SAI1_TX_DATA00		0xd6 /*SAI1_TXD0 - PCM_DAT1-PCMDAC*/
		>;
	};

	pinctrl_sai2: sai2grp {
		fsl,pins = <
			MX8MP_IOMUXC_SAI2_RXD0__AUDIOMIX_SAI2_RX_DATA00		0xd6 /*SAI2_RXD0 - BT_PCM_DIN*/
			MX8MP_IOMUXC_SAI2_TXC__AUDIOMIX_SAI2_TX_BCLK		0xd6 /*SAI2_TXC - BT_PCM_CLK*/
			MX8MP_IOMUXC_SAI2_TXD0__AUDIOMIX_SAI2_TX_DATA00		0xd6 /*SAI2_TXD0 - BT_PCM_SDOUT*/
			MX8MP_IOMUXC_SAI2_TXFS__AUDIOMIX_SAI2_TX_SYNC		0xd6 /*SAI2_TXFS - BT_PCM_SYNC*/
		>;
	};

	pinctrl_sai3: sai3grp {
		fsl,pins = <
			MX8MP_IOMUXC_SAI3_RXD__AUDIOMIX_SAI3_RX_DATA00		0xd6 /*-Audio_a - SAI3_RXD*/
			MX8MP_IOMUXC_SAI3_TXC__AUDIOMIX_SAI3_TX_BCLK		0xd6 /*I2S_BCLK-Audio_a - SAI3_TXC*/
			MX8MP_IOMUXC_SAI3_TXD__AUDIOMIX_SAI3_TX_DATA00		0xd6 /*I2S_DACDAT-Audio_a - SAI3_TXD*/
			MX8MP_IOMUXC_SAI3_TXFS__AUDIOMIX_SAI3_TX_SYNC		0xd6 /*I2S_LRCLK-Audio_a - SAI3_TXFS*/
			MX8MP_IOMUXC_SAI3_MCLK__AUDIOMIX_SAI3_MCLK			0xd6 /*I2S_MCLKF-Audio_a - SAI3_MCLK*/
			MX8MP_IOMUXC_SAI3_RXFS__GPIO4_IO28					0x80 /* Codec irq */
		>;
	};

	pinctrl_eqos: eqosgrp {
		fsl,pins = <
			MX8MP_IOMUXC_ENET_MDC__ENET_QOS_MDC				0x2
			MX8MP_IOMUXC_ENET_MDIO__ENET_QOS_MDIO			0x2
			MX8MP_IOMUXC_ENET_TD3__ENET_QOS_RGMII_TD3		0x16
			MX8MP_IOMUXC_ENET_TD2__ENET_QOS_RGMII_TD2		0x16
			MX8MP_IOMUXC_ENET_TD1__ENET_QOS_RGMII_TD1		0x16
			MX8MP_IOMUXC_ENET_TD0__ENET_QOS_RGMII_TD0		0x16
			MX8MP_IOMUXC_ENET_TX_CTL__ENET_QOS_RGMII_TX_CTL 0x16
			MX8MP_IOMUXC_ENET_TXC__CCM_ENET_QOS_CLOCK_GENERATE_TX_CLK	0x16
			MX8MP_IOMUXC_ENET_RX_CTL__ENET_QOS_RGMII_RX_CTL 0x80
			MX8MP_IOMUXC_ENET_RXC__CCM_ENET_QOS_CLOCK_GENERATE_RX_CLK	0x80
			MX8MP_IOMUXC_ENET_RD0__ENET_QOS_RGMII_RD0		0x00
			MX8MP_IOMUXC_ENET_RD1__ENET_QOS_RGMII_RD1		0x00
			MX8MP_IOMUXC_ENET_RD2__ENET_QOS_RGMII_RD2		0x00
			MX8MP_IOMUXC_ENET_RD3__ENET_QOS_RGMII_RD3		0x00
			MX8MP_IOMUXC_SD1_DATA2__GPIO2_IO04				0x80	/* nINT_ENET_A */
			MX8MP_IOMUXC_SD1_DATA3__GPIO2_IO05				0x02	/* ETHPHY_nRST */
		>;
	};

	pinctrl_gpio_led: gpioledgrp {
		fsl,pins = <
			MX8MP_IOMUXC_SAI5_MCLK__GPIO3_IO25		0x142 /* LED_R_Status--CPU */
			MX8MP_IOMUXC_SAI5_RXFS__GPIO3_IO19		0x142 /* LED_G_Status--CPU */
			MX8MP_IOMUXC_SAI5_RXC__GPIO3_IO20		0x142 /* LED_B_Status--CPU */
			MX8MP_IOMUXC_GPIO1_IO00__GPIO1_IO00		0x142 /* WIFI_LED_CTL_R */
			MX8MP_IOMUXC_GPIO1_IO12__GPIO1_IO12		0x142 /* WIFI_LED_CTL_G */
			MX8MP_IOMUXC_GPIO1_IO01__GPIO1_IO01		0x142 /* WIFI_LED_CTL_B */

		>;
	};

	pinctrl_flexcan2: flexcan2grp {
		fsl,pins = <
			MX8MP_IOMUXC_UART3_RXD__CAN2_TX			0x140
			MX8MP_IOMUXC_UART3_TXD__CAN2_RX			0x154
		>;
	};

	pinctrl_uart3: uart3grp {
		fsl,pins = <
			MX8MP_IOMUXC_UART3_RXD__UART3_DTE_TX	0x140
			MX8MP_IOMUXC_UART3_TXD__UART3_DTE_RX	0x154
		>;
	};

	/* PWM_ECG */
	pinctrl_pwm_ecg: ecggrp {
		fsl,pins = <
			MX8MP_IOMUXC_GPIO1_IO11__PWM2_OUT			0x006
		>;
	};

	pinctrl_pwm_gpo1: gpo1grp {
		fsl,pins = <
			MX8MP_IOMUXC_GPIO1_IO15__PWM4_OUT			0x006
		>;
	};

	pinctrl_pwm_gpo2: gpo2grp {
		fsl,pins = <
			MX8MP_IOMUXC_GPIO1_IO10__PWM3_OUT			0x006
		>;
	};
};

&uart1 {
	pinctrl-names = "default";
	pinctrl-0 = <&pinctrl_uart1>;
	assigned-clocks = <&clk IMX8MP_CLK_UART1>;
	assigned-clock-parents = <&clk IMX8MP_SYS_PLL1_80M>;
	fsl,uart-has-rtscts;
	status = "okay";
};

&uart2 {
	pinctrl-names = "default";
	pinctrl-0 = <&pinctrl_uart2>;
	status = "okay";
};

&uart3 {
	status = "okay";
	fsl,dte-mode;
};

&uart4 {
	pinctrl-names = "default";
	pinctrl-0 = <&pinctrl_uart4>;
	status = "okay";
};

/* USB-OTG */
&usb3_phy0 {
	status = "okay";

};

&usb3_0 {
	status = "okay";
};

&usb_dwc3_0 {
	dr_mode = "host";
	status = "okay";
};

/* USB-C */
&usb3_phy1 {
	vbus-supply = <&reg_usb_c_vbus>;
	fsl,phy-tx-vref-tune = <0xe>;
	fsl,phy-tx-preemp-amp-tune = <3>;
	fsl,phy-tx-vboost-level = <5>;
	fsl,phy-comp-dis-tune = <7>;
	fsl,pcs-tx-deemph-3p5db = <0x21>;
	fsl,phy-pcs-tx-swing-full = <0x7f>;
	status = "okay";

};

&usb3_1 {
	status = "okay";
};

&usb_dwc3_1 {
	dr_mode = "host";
	hnp-disable;
	srp-disable;
	adp-disable;
	snps,dis-u1-entry-quirk;
	snps,dis-u2-entry-quirk;
	status = "okay";
};

&usdhc2 {
	assigned-clocks = <&clk IMX8MP_CLK_USDHC1>;
	assigned-clock-rates = <400000000>;
	/*
	pinctrl-names = "default", "state_100mhz", "state_200mhz";
	pinctrl-0 = <&pinctrl_usdhc2>, <&pinctrl_wifi1>;
	pinctrl-1 = <&pinctrl_usdhc2_100mhz>, <&pinctrl_wifi1>;
	pinctrl-2 = <&pinctrl_usdhc2_200mhz>, <&pinctrl_wifi1> ;
	*/
	pinctrl-names = "default", "state_100mhz";
	pinctrl-0 = <&pinctrl_usdhc2>, <&pinctrl_wifi1>;
	pinctrl-1 = <&pinctrl_usdhc2_100mhz>, <&pinctrl_wifi1>;
	vmmc-supply = <&reg_wifi>;
	bus-width = <4>;
	status = "okay";
	keep-power-in-suspend;

	wifi_wake_host {
		compatible = "nxp,wifi-wake-host";
		interrupt-parent = <&gpio4>;
		interrupts = <22 IRQ_TYPE_LEVEL_LOW>;
		interrupt-names = "host-wake";
	};
};

&usdhc3 {
	assigned-clocks = <&clk IMX8MP_CLK_USDHC3>;
	assigned-clock-rates = <400000000>;
	pinctrl-names = "default", "state_100mhz", "state_200mhz";
	pinctrl-0 = <&pinctrl_usdhc3>;
	pinctrl-1 = <&pinctrl_usdhc3_100mhz>;
	pinctrl-2 = <&pinctrl_usdhc3_200mhz>;
	bus-width = <8>;
	non-removable;
	status = "okay";
};

&usdhc3 {
	partitions {
		compatible = "fixed-partitions";
		#size-cells = <1>;
		#address-cells = <1>;

		partition@0 {
			label = "barebox";
			reg = <0x0 0xe0000>;
		};

		partition@e0000 {
			label = "barebox-environment";
			reg = <0xe0000 0x20000>;
		};

		backend_state_usdhc: partition@100000 {
			reg = <0x100000 0x100000>;
			label = "state-emmc";
		};
	};
};

&pwm1 {
	pinctrl-names = "default";
	pinctrl-0 = <&pinctrl_pwm_gpo1>;
	status = "okay";
};

&pwm2 {
	pinctrl-names = "default";
	pinctrl-0 = <&pinctrl_pwm_ecg>;
	status = "okay";
};

&pwm3 {
	pinctrl-names = "default";
	pinctrl-0 = <&pinctrl_pwm_gpo2>;
	status = "okay";
};

&pcie {
	status = "disabled";
};

&pcie_phy{
	ext_osc = <1>;
	status = "disabled";
};

&easrc {
	fsl,asrc-rate = <48000>;
	status = "okay";
};
